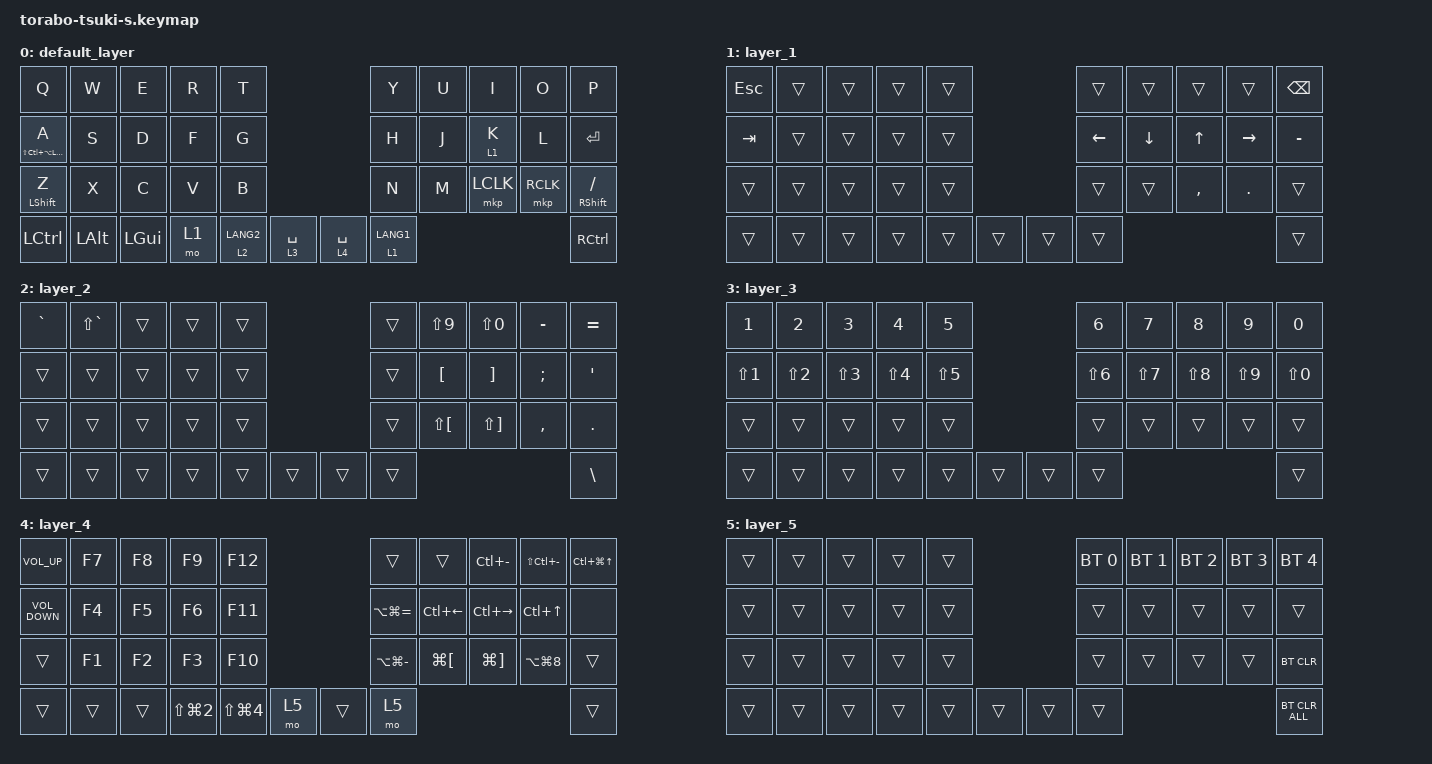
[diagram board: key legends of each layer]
#include <behaviors.dtsi>
#include <dt-bindings/zmk/bt.h>
#include <dt-bindings/zmk/keys.h>
#include <dt-bindings/zmk/pointing.h>

&mt {
    flavor = "balanced";
    quick-tap-ms = <150>;
};

&lt {
    quick-tap-ms = <150>;
    flavor = "balanced";
};

/ {
    combos { compatible = "zmk,combos"; };

    behaviors {
        hml: hml {
            compatible = "zmk,behavior-hold-tap";
            label = "HML";
            bindings = <&kp>, <&kp>;

            #binding-cells = <2>;
            tapping-term-ms = <200>;
            quick-tap-ms = <150>;
            require-prior-idle-ms = <200>;
            flavor = "balanced";
            hold-trigger-key-positions = <5 6 7 8 9 15 16 17 18 19 25 26 27 28 29 37 38 36>;
            hold-trigger-on-release;
        };

        hmr: hmr {
            compatible = "zmk,behavior-hold-tap";
            label = "HMR";
            bindings = <&kp>, <&kp>;

            #binding-cells = <2>;
            tapping-term-ms = <200>;
            quick-tap-ms = <150>;
            require-prior-idle-ms = <200>;
            flavor = "balanced";
            hold-trigger-key-positions = <24 34 35 33 2 3 12 13 22 23 4 14 0 1 10 11 12 20 21 22 30 31 32>;
            hold-trigger-on-release;
        };
    };

    keymap {
        compatible = "zmk,keymap";

        default_layer {
            bindings = <
&kp Q                        &kp W         &kp E         &kp R  &kp T                                  &kp Y        &kp U  &kp I      &kp O      &kp P
&hml LS(LC(LA(LEFT_GUI))) A  &kp S         &kp D         &kp F  &kp G                                  &kp H        &kp J  &lt 1 K    &kp L      &kp ENTER
&mt LEFT_SHIFT Z             &kp X         &kp C         &kp V  &kp B                                  &kp N        &kp M  &mkp LCLK  &mkp RCLK  &mt RIGHT_SHIFT FSLH
&kp LCTRL                    &kp LEFT_ALT  &kp LEFT_GUI  &mo 1  &lt 2 LANG2  &lt 3 SPACE  &lt 4 SPACE  &lt 1 LANG1                               &kp RCTRL
            >;
        };

        layer_1 {
            bindings = <
&kp ESCAPE  &trans  &trans  &trans  &trans                  &trans    &trans    &trans     &trans      &kp BACKSPACE
&kp TAB     &trans  &trans  &trans  &trans                  &kp LEFT  &kp DOWN  &kp UP     &kp RIGHT   &kp MINUS
&trans      &trans  &trans  &trans  &trans                  &trans    &trans    &kp COMMA  &kp PERIOD  &trans
&trans      &trans  &trans  &trans  &trans  &trans  &trans  &trans                                     &trans
            >;
        };

        layer_2 {
            bindings = <
&kp GRAVE  &kp LS(GRAVE)  &trans  &trans  &trans                  &trans  &kp LS(N9)    &kp LS(N0)    &kp MINUS  &kp EQUAL
&trans     &trans         &trans  &trans  &trans                  &trans  &kp LBKT      &kp RBKT      &kp SEMI   &kp APOS
&trans     &trans         &trans  &trans  &trans                  &trans  &kp LS(LBKT)  &kp LS(RBKT)  &kp COMMA  &kp DOT
&trans     &trans         &trans  &trans  &trans  &trans  &trans  &trans                                         &kp BSLH
            >;
        };

        layer_3 {
            bindings = <
&kp N1      &kp N2      &kp N3      &kp N4      &kp N5                      &kp N6      &kp N7      &kp N8      &kp N9      &kp N0
&kp LS(N1)  &kp LS(N2)  &kp LS(N3)  &kp LS(N4)  &kp LS(N5)                  &kp LS(N6)  &kp LS(N7)  &kp LS(N8)  &kp LS(N9)  &kp LS(N0)
&trans      &trans      &trans      &trans      &trans                      &trans      &trans      &trans      &trans      &trans
&trans      &trans      &trans      &trans      &trans      &trans  &trans  &trans                                          &trans
            >;
        };

        layer_4 {
            bindings = <
&kp C_VOLUME_UP    &kp F7  &kp F8  &kp F9          &kp F12                        &trans             &trans        &kp LC(MINUS)  &kp LS(LC(MINUS))  &kp LC(LG(UP))
&kp C_VOLUME_DOWN  &kp F4  &kp F5  &kp F6          &kp F11                        &kp LA(LG(EQUAL))  &kp LC(LEFT)  &kp LC(RIGHT)  &kp LC(UP)         &none
&trans             &kp F1  &kp F2  &kp F3          &kp F10                        &kp LA(LG(MINUS))  &kp LG(LBKT)  &kp LG(RBKT)   &kp LA(LG(N8))     &trans
&trans             &trans  &trans  &kp LS(LG(N2))  &kp LS(LG(N4))  &mo 5  &trans  &mo 5                                                              &trans
            >;
        };

        layer_5 {
            bindings = <
&trans  &trans  &trans  &trans  &trans                  &bt BT_SEL 0  &bt BT_SEL 1  &bt BT_SEL 2  &bt BT_SEL 3  &bt BT_SEL 4
&trans  &trans  &trans  &trans  &trans                  &trans        &trans        &trans        &trans        &trans
&trans  &trans  &trans  &trans  &trans                  &trans        &trans        &trans        &trans        &bt BT_CLR
&trans  &trans  &trans  &trans  &trans  &trans  &trans  &trans                                                  &bt BT_CLR_ALL
            >;
        };
    };
};
